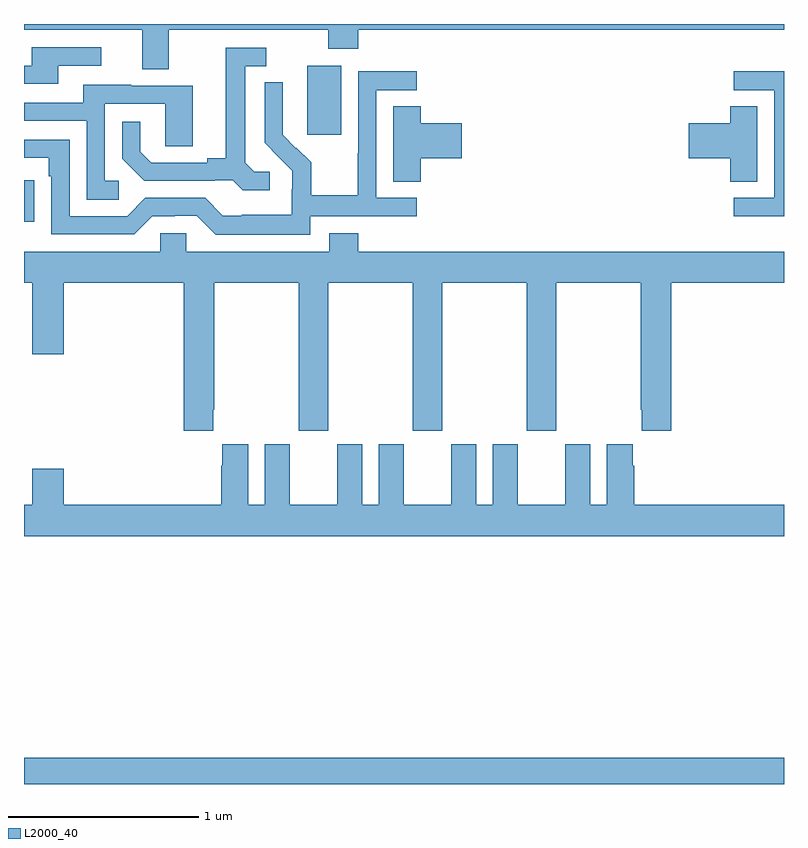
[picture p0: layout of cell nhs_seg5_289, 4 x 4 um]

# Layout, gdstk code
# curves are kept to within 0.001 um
import gdstk
lib = gdstk.Library(unit=1e-6, precision=1e-09)
def R(c, l, rs):  # rectangles x0, y0, x1, y1
    for r in rs: c.add(gdstk.rectangle(r[:2], r[2:], *l))
def P(c, l, *ps):  # polygons
    for p in ps: c.add(gdstk.Polygon(p, *l))
L2000_40 = (2000, 40)

nhs_seg5_289 = lib.new_cell('nhs_seg5_289')
R(nhs_seg5_289, L2000_40, [(129,844.799,133,844.936), (129,847.758,129.053,847.976), (130.49,848.217,130.669,848.578)])
P(nhs_seg5_289, L2000_40, [(133,848.799),(129,848.799),(129,848.768),(129.623,848.768),(129.623,848.56),(129.763,848.56),(129.763,848.768),(130.6,848.768),(130.6,848.669),(130.76,848.669),(130.76,848.768),(133,848.768)],
  [(129.181,848.58),(129.406,848.58),(129.406,848.676),(129.041,848.676),(129.041,848.58),(129,848.58),(129,848.484),(129.181,848.484)],
  [(130.294,848.022),(130.212,848.022),(130.165,848.069),(130.165,848.577),(130.276,848.577),(130.276,848.673),(130.061,848.673),(130.061,848.093),(129.965,848.093),(129.965,848.07),(129.67,848.07),(129.613,848.127),(129.613,848.284),(129.516,848.284),(129.516,848.09),(129.632,847.974),(130.004,847.974),(130.004,847.977),(130.098,847.977),(130.15,847.925),(130.294,847.925)],
  [(133,848.55),(132.735,848.55),(132.735,848.451),(132.948,848.451),(132.948,847.884),(132.735,847.884),(132.735,847.788),(133,847.788)],
  [(130.506,847.788),(131.068,847.788),(131.068,847.884),(130.854,847.884),(130.854,848.451),(131.068,848.451),(131.068,848.55),(130.758,848.55),(130.758,848.12),(130.756,848.12),(130.756,847.897),(130.511,847.897),(130.511,848.071),(130.434,848.148),(130.431,848.145),(130.361,848.216),(130.362,848.492),(130.266,848.492),(130.266,848.174),(130.412,848.026),(130.412,847.929),(130.41,847.929),(130.41,847.795),(130.147,847.795),(130.147,847.791),(130.047,847.791),(129.954,847.884),(129.639,847.884),(129.543,847.788),(129.24,847.788),(129.24,848.19),(129,848.19),(129,848.094),(129.131,848.094),(129.131,847.997),(129.144,847.997),(129.144,847.692),(129.579,847.692),(129.675,847.788),(129.794,847.788),(129.794,847.791),(129.909,847.791),(130.009,847.691),(130.506,847.691)],
  [(129.499,847.974),(129.426,847.974),(129.426,848.379),(129.744,848.379),(129.744,848.155),(129.889,848.155),(129.889,848.475),(129.565,848.475),(129.565,848.479),(129.311,848.479),(129.311,848.385),(129,848.385),(129,848.289),(129.33,848.289),(129.33,847.873),(129.499,847.873)],
  [(132.859,848.366),(132.716,848.366),(132.716,848.276),(132.498,848.276),(132.498,848.093),(132.716,848.093),(132.716,847.969),(132.859,847.969)],
  [(131.087,848.093),(131.305,848.093),(131.305,848.276),(131.087,848.276),(131.087,848.366),(130.943,848.366),(130.943,847.969),(131.087,847.969)],
  [(129.997,846.769),(130.002,846.769),(130.002,847.436),(130.447,847.436),(130.447,846.657),(130.602,846.657),(130.602,847.436),(131.047,847.436),(131.047,846.657),(131.202,846.657),(131.202,847.436),(131.647,847.436),(131.647,846.657),(131.802,846.657),(131.802,847.436),(132.247,847.436),(132.247,846.769),(132.251,846.769),(132.251,846.657),(132.407,846.657),(132.407,847.436),(133,847.436),(133,847.6),(130.76,847.6),(130.76,847.699),(130.607,847.699),(130.607,847.6),(129.855,847.6),(129.855,847.698),(129.717,847.698),(129.717,847.6),(129,847.6),(129,847.436),(129.044,847.436),(129.044,847.062),(129.208,847.062),(129.208,847.436),(129.842,847.436),(129.842,846.657),(129.997,846.657)],
  [(133,846.268),(132.212,846.268),(132.212,846.473),(132.205,846.473),(132.205,846.586),(132.068,846.586),(132.068,846.268),(131.98,846.268),(131.98,846.586),(131.849,846.586),(131.849,846.268),(131.599,846.268),(131.599,846.586),(131.468,846.586),(131.468,846.268),(131.38,846.268),(131.38,846.586),(131.249,846.586),(131.249,846.268),(130.999,846.268),(130.999,846.586),(130.868,846.586),(130.868,846.268),(130.78,846.268),(130.78,846.586),(130.649,846.586),(130.649,846.268),(130.399,846.268),(130.399,846.586),(130.268,846.586),(130.268,846.268),(130.18,846.268),(130.18,846.586),(130.043,846.586),(130.043,846.473),(130.037,846.473),(130.037,846.268),(129.208,846.268),(129.208,846.457),(129.044,846.457),(129.044,846.268),(129,846.268),(129,846.104),(133,846.104)])

lib.write_gds('nhs_seg5_289.gds')
